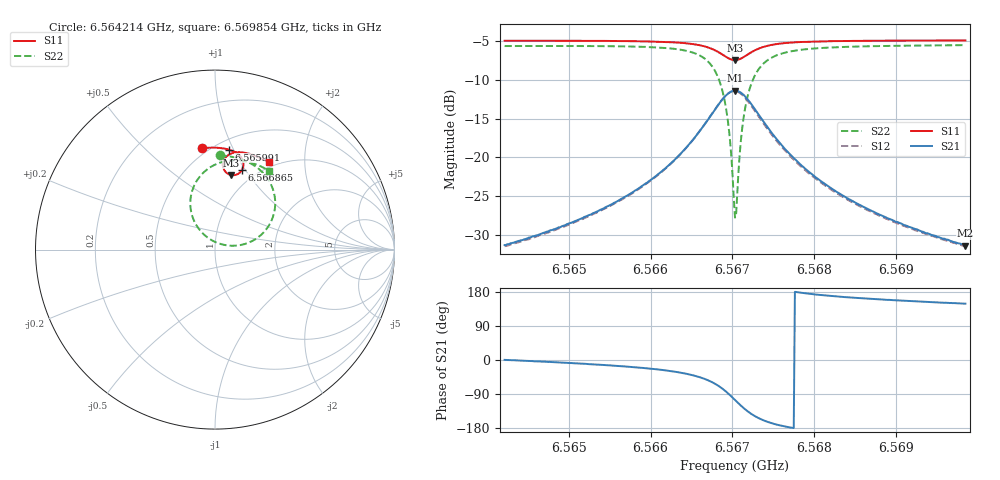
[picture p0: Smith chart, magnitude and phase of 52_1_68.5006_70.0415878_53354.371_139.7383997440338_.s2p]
#  HZ  S  RI  R  50.00
! Rohde & Schwarz Vector Network Analyzer
! Rohde-Schwarz,ZNB20-2Port,1311601062101988,3.16
! Created: UTC 3/20/2024, 5:06:01 PM
! freq[Hz]  re:S11  im:S11  re:S21  im:S21  re:S12  im:S12  re:S22  im:S22
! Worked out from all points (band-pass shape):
!   401 points, 6.564214 GHz to 6.569854 GHz, reference 50 ohm
!   highest |S21| = -11.36 dB at 6.567034 GHz (marker M1); lowest = -31.4 dB at 6.569854 GHz (marker M2)
!   |S21| within 3 dB of the highest: 6.566752 GHz to 6.567316 GHz (563.8 kHz wide, 0.00859 % of centre)
!   lowest |S11| = -7.4 dB at 6.567034 GHz (marker M3), VSWR 2.48, Z = 40.8 + j41.4 ohm
!   |S11| at or under -10 dB: nowhere
!   |S22| runs from -27.8 to -5.5 dB; largest |S21 - S12| = 0.012
!   S11 on the Smith chart (normalised r, x): 6.564214 GHz: 0.46, +0.77; 6.565991 GHz: 0.59, +0.96; 6.566865 GHz: 0.85, +0.97; 6.569854 GHz: 0.93, +1.34
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6.5642142e9  -0.0738 0.5642  0.027 0.000156  0.0266 -0.000252  0.0253 0.5246
6.5651588e9  0.00291 0.5678  0.0397 -0.00675  0.0391 -0.00741  0.1132 0.5129
6.5659906e9  0.079 0.5567  0.0652 -0.0272  0.0642 -0.0281  0.2164 0.4699
6.5661033e9  0.0908 0.5528  0.0709 -0.0336  0.0699 -0.0344  0.2348 0.4571
6.5664135e9  0.1256 0.5343  0.0914 -0.0645  0.0899 -0.0659  0.2933 0.3956
6.566625e9  0.1497 0.5068  0.1047 -0.1125  0.1023 -0.1144  0.3314 0.3037
6.566766e9  0.1583 0.4739  0.0981 -0.1697  0.0939 -0.1727  0.3265 0.1944
6.5668647e9  0.1504 0.4434  0.0668 -0.2219  0.0596 -0.2247  0.2714 0.0963
6.566907e9  0.1404 0.4307  0.0414 -0.243  0.0328 -0.2448  0.2255 0.0582
6.5669493e9  0.1261 0.4205  0.00843 -0.2587  -0.00188 -0.2589  0.165 0.0309
6.5669774e9  0.1145 0.4162  -0.0173 -0.2646  -0.0281 -0.2629  0.1189 0.0223
6.5670197e9  0.0953 0.4148  -0.0583 -0.2636  -0.0694 -0.2592  0.0459 0.0273
6.5670338e9  0.0889 0.4157  -0.072 -0.2606  -0.0828 -0.2551  0.0221 0.0341
6.567062e9  0.0766 0.4199  -0.0981 -0.2507  -0.1079 -0.2433  -0.0224 0.0547
6.5671043e9  0.0609 0.4308  -0.1314 -0.2274  -0.1391 -0.2179  -0.077 0.0997
6.5671466e9  0.0504 0.4455  -0.1551 -0.1978  -0.1603 -0.1874  -0.114 0.1544
6.567203e9  0.0441 0.4663  -0.1717 -0.1562  -0.1737 -0.146  -0.1359 0.2288
6.5672735e9  0.0463 0.4898  -0.1743 -0.1105  -0.1737 -0.1015  -0.132 0.3087
6.5675273e9  0.0846 0.5328  -0.1322 -0.0244  -0.1293 -0.0207  -0.036 0.4524
6.5679784e9  0.1454 0.5422  -0.077 0.00824  -0.0752 0.00944  0.0915 0.4969
6.568923e9  0.2316 0.5201  -0.0372 0.0145  -0.0364 0.0149  0.2211 0.4776
6.5698535e9  0.2994 0.4861  -0.0229 0.014  -0.0226 0.0141  0.3002 0.4397
